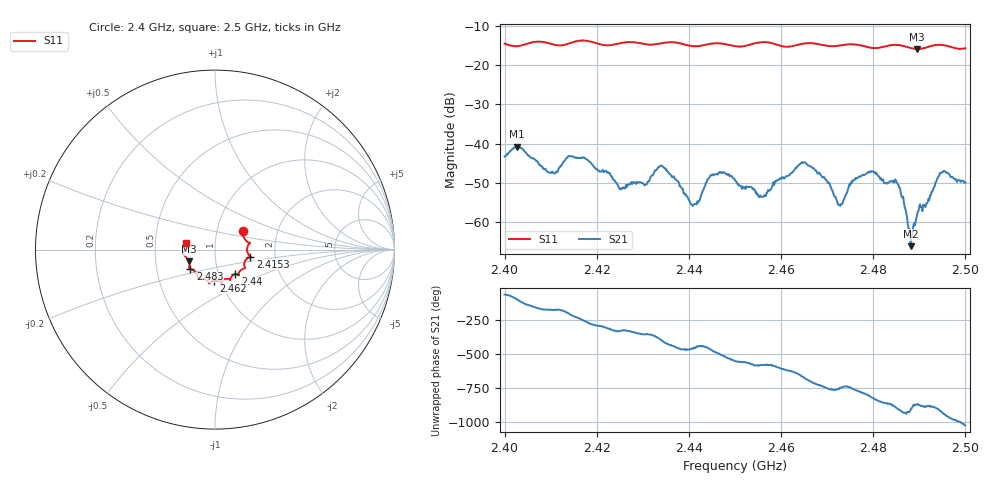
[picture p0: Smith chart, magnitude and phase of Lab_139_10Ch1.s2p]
# Hz S RI R 50
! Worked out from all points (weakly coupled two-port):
!   601 points, 2.4 GHz to 2.5 GHz, reference 50 ohm
!   highest |S21| = -40.76 dB at 2.4027 GHz (marker M1); lowest = -66.2 dB at 2.4882 GHz (marker M2)
!   lowest |S11| = -15.9 dB at 2.4895 GHz (marker M3), VSWR 1.38, Z = 37 - j5 ohm
!   |S11| at or under -10 dB: start of sweep to end of sweep
!   S12 and S22 are empty: the file has one direction only
!   S11 on the Smith chart (normalised r, x): 2.4 GHz: 1.33, +0.29; 2.4153 GHz: 1.48, -0.12; 2.44 GHz: 1.20, -0.34; 2.462 GHz: 0.93, -0.33; 2.483 GHz: 0.74, -0.17; 2.5 GHz: 0.72, +0.06
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2.4e9  0.155 0.1064  0.00346 -0.00588  0 0  0 0
2.402667e9  0.1623 0.0639  -0.000688 -0.00914  0 0  0 0
2.409667e9  0.1875 0.0292  -0.00421 -0.000678  0 0  0 0
2.415333e9  0.1963 -0.0386  -0.00477 0.00468  0 0  0 0
2.416667e9  0.202 -0.0425  -0.00296 0.00585  0 0  0 0
2.4255e9  0.1661 -0.0983  0.00219 0.00164  0 0  0 0
2.433333e9  0.1312 -0.1335  0.00474 -0.0016  0 0  0 0
2.44e9  0.1137 -0.1367  -0.00046 -0.00183  0 0  0 0
2.445167e9  0.0847 -0.1691  -0.00167 -0.00371  0 0  0 0
2.45e9  0.0648 -0.1625  -0.0034 0.000543  0 0  0 0
2.455667e9  0.0375 -0.1926  -0.00168 0.00129  0 0  0 0
2.462e9  -0.00528 -0.1731  -0.000624 0.00409  0 0  0 0
2.466667e9  -0.0342 -0.1875  0.00471 0.00151  0 0  0 0
2.472833e9  -0.0785 -0.1603  0.0014 -0.000779  0 0  0 0
2.479e9  -0.1034 -0.1338  0.000476 -0.00423  0 0  0 0
2.483e9  -0.1376 -0.1095  -0.00229 -0.00207  0 0  0 0
2.483333e9  -0.14 -0.1094  -0.00249 -0.00196  0 0  0 0
2.485333e9  -0.146 -0.107  -0.00304 -1.05e-05  0 0  0 0
2.488167e9  -0.1425 -0.0843  -0.000492 6.66e-06  0 0  0 0
2.4895e9  -0.1463 -0.0659  -0.00102 -0.000652  0 0  0 0
2.495e9  -0.18 -0.0198  -0.00389 0.00206  0 0  0 0
2.5e9  -0.1597 0.0393  0.00171 0.0027  0 0  0 0
